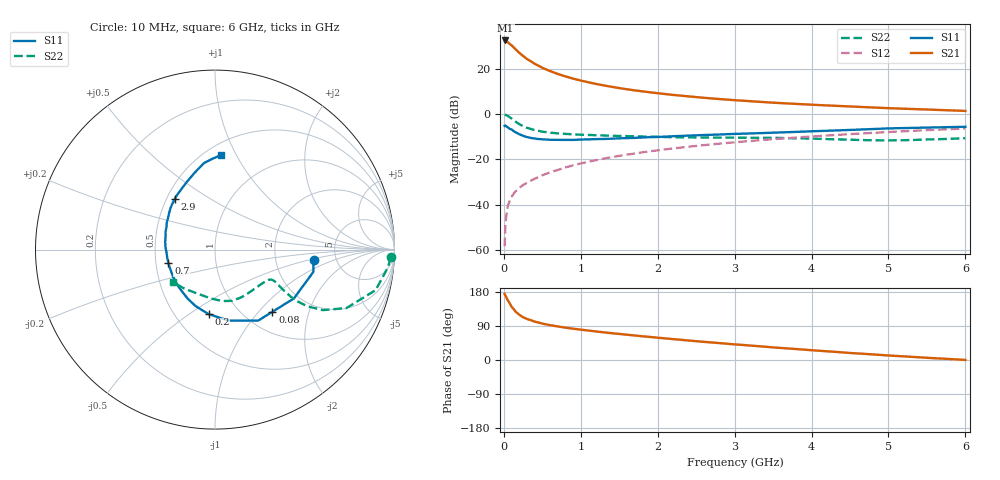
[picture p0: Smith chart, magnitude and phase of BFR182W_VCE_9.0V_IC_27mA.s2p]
! Infineon Technologies  Discrete & RF Semiconductors
! BFR182W
! VCE =  9.0 V,  IC =  27 mA
! Common Emitter S-Parameters:  Jan 2017
# GHz  S  MA  R  50
!  f  S11  S21  S12  S22
! GHz  MAG  ANG  MAG  ANG  MAG  ANG  MAG  ANG
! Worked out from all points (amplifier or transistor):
!   77 points, 10 MHz to 6 GHz, reference 50 ohm
!   highest |S21| = 32.7 dB at 20 MHz (marker M1)
!   |S21| within 3 dB of that: start of sweep to 125.2 MHz
!   unconditionally stable (mu >= 1): 696.7 MHz to 2.289 GHz
!   at 130 MHz: K = 0.48, MSG = 32.3 dB, |S12| = -35.1 dB
!   at 2.2 GHz: K = 1.01, MAG = 11.4 dB, |S12| = -15.1 dB
!   at 6 GHz: K = 0.86, MSG = 3.9 dB, |S12| = -6.3 dB
!   S11 on the Smith chart (normalised r, x): 10 MHz: 3.36, -0.57; 80 MHz: 1.33, -1.19; 200 MHz: 0.72, -0.60; 700 MHz: 0.58, -0.09; 2.9 GHz: 0.55, +0.36; 6 GHz: 0.60, +0.87
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0.01  0.552 -6.1  42.85 174.3  0.0012 85.7  0.979 -2.5
0.02  0.5618 -12.8  42.94 170.3  0.0034 93.2  0.9692 -5.8
0.05  0.5171 -31.8  39.76 157.8  0.009 77.1  0.9229 -14.2
0.08  0.4716 -47.3  35.63 148.1  0.0125 72.5  0.8469 -19.7
0.1  0.463 -58.7  33.55 140.5  0.0149 70.6  0.8014 -24.0
0.15  0.402 -79.4  27.63 128.2  0.0194 66.5  0.6892 -29.3
0.2  0.3611 -95.7  22.94 119.5  0.0233 68.0  0.6057 -31.5
0.25  0.3329 -108.9  19.47 112.9  0.0271 66.7  0.5446 -32.1
0.3  0.3125 -119.3  16.74 108.3  0.0303 66.8  0.4995 -31.9
0.4  0.29 -134.8  13.09 101.2  0.0371 68.3  0.4446 -30.7
0.5  0.2784 -146.7  10.68 96.1  0.0444 70.2  0.4116 -29.4
0.6  0.2719 -156.1  9.035 92.0  0.0518 70.8  0.391 -28.6
0.7  0.2707 -163.8  7.806 88.6  0.0582 71.9  0.3769 -28.0
0.9  0.2702 -175.7  6.139 82.6  0.0737 72.0  0.3588 -27.9
1.1  0.2777 175.0  5.086 77.7  0.0888 72.2  0.3479 -28.8
1.5  0.2927 160.5  3.793 68.8  0.1196 71.0  0.3303 -32.7
2.1  0.3192 144.5  2.795 57.0  0.1669 67.8  0.3125 -42.6
2.9  0.361 128.3  2.108 42.9  0.2308 62.1  0.3036 -59.5
3.1  0.3707 124.6  1.995 39.8  0.247 60.5  0.3022 -63.6
4.1  0.4243 108.7  1.595 24.4  0.3297 52.0  0.2852 -84.4
5.1  0.4896 96.1  1.343 10.7  0.4117 42.6  0.2644 -114.5
6  0.5268 86.5  1.184 0.2  0.4824 33.4  0.2949 -141.9
